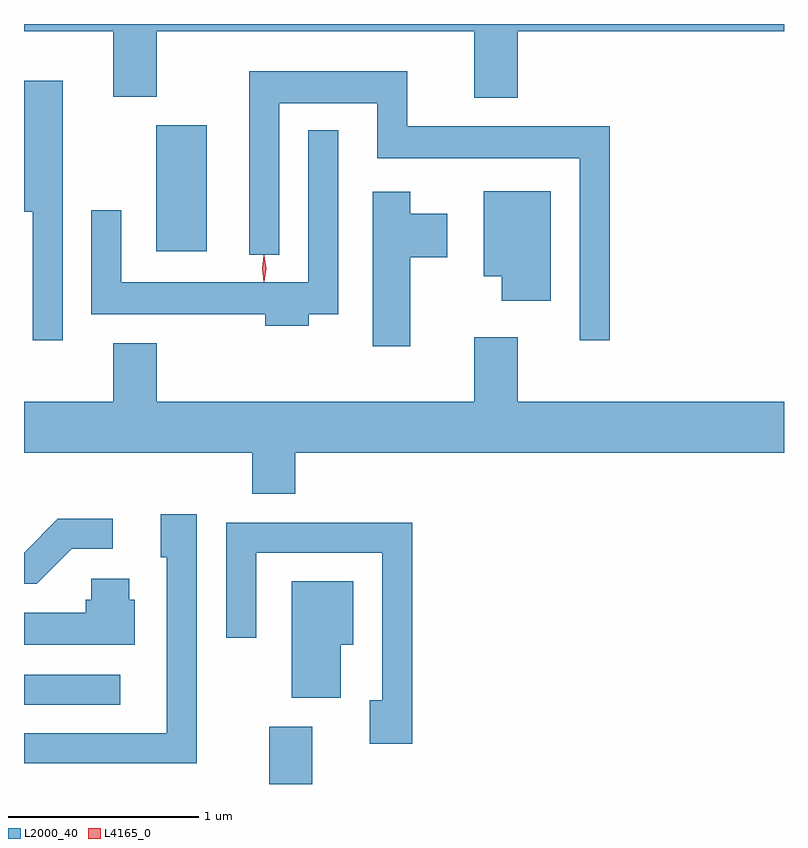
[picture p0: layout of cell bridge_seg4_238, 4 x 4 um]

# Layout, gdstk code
import gdstk
lib = gdstk.Library(unit=1e-6, precision=1e-09)
def R(c, l, rs):  # rectangles x0, y0, x1, y1
    for r in rs: c.add(gdstk.rectangle(r[:2], r[2:], *l))
def P(c, l, *ps):  # polygons
    for p in ps: c.add(gdstk.Polygon(p, *l))
L2000_40 = (2000, 40)
L4165_0 = (4165, 0)

bridge_seg4_238 = lib.new_cell('bridge_seg4_238')
R(bridge_seg4_238, L2000_40, [(607.691,1332.953,607.919,1333.254), (606.401,1333.371,606.908,1333.529), (607.096,1335.756,607.364,1336.419)])
P(bridge_seg4_238, L2000_40, [(608.999,1336.916),(610.401,1336.916),(610.401,1336.953),(606.401,1336.953),(606.401,1336.916),(606.871,1336.916),(606.871,1336.571),(607.099,1336.571),(607.099,1336.916),(608.771,1336.916),(608.771,1336.566),(608.999,1336.566)],
  [(609.484,1336.414),(608.419,1336.414),(608.419,1336.704),(607.586,1336.704),(607.586,1335.738),(607.744,1335.738),(607.744,1336.536),(608.261,1336.536),(608.261,1336.246),(609.326,1336.246),(609.326,1335.288),(609.484,1335.288)],
  [(606.604,1336.654),(606.401,1336.654),(606.401,1335.966),(606.446,1335.966),(606.446,1335.288),(606.604,1335.288)],
  [(607.899,1335.426),(608.054,1335.426),(608.054,1336.393),(607.896,1336.393),(607.896,1335.594),(606.914,1335.594),(606.914,1335.973),(606.756,1335.973),(606.756,1335.426),(607.671,1335.426),(607.671,1335.366),(607.899,1335.366)],
  [(609.174,1336.074),(608.821,1336.074),(608.821,1335.626),(608.916,1335.626),(608.916,1335.496),(609.174,1335.496)],
  [(608.434,1335.726),(608.629,1335.726),(608.629,1335.954),(608.434,1335.954),(608.434,1336.069),(608.236,1336.069),(608.236,1335.256),(608.434,1335.256)],
  [(607.829,1334.696),(610.401,1334.696),(610.401,1334.964),(608.999,1334.964),(608.999,1335.304),(608.771,1335.304),(608.771,1334.964),(607.099,1334.964),(607.099,1335.274),(606.871,1335.274),(606.871,1334.964),(606.401,1334.964),(606.401,1334.696),(607.601,1334.696),(607.601,1334.481),(607.829,1334.481)],
  [(607.309,1334.374),(607.121,1334.374),(607.121,1334.146),(607.151,1334.146),(607.151,1333.219),(606.401,1333.219),(606.401,1333.061),(607.309,1333.061)],
  [(606.652,1334.191),(606.868,1334.191),(606.868,1334.349),(606.579,1334.349),(606.401,1334.171),(606.401,1334.006),(606.467,1334.006)],
  [(608.444,1334.329),(607.466,1334.329),(607.466,1333.723),(607.624,1333.723),(607.624,1334.171),(608.286,1334.171),(608.286,1333.394),(608.221,1333.394),(608.221,1333.166),(608.444,1333.166)],
  [(606.984,1333.924),(606.954,1333.924),(606.954,1334.034),(606.756,1334.034),(606.756,1333.924),(606.726,1333.924),(606.726,1333.854),(606.401,1333.854),(606.401,1333.686),(606.984,1333.686)],
  [(608.069,1333.686),(608.134,1333.686),(608.134,1334.019),(607.811,1334.019),(607.811,1333.406),(608.069,1333.406)])
P(bridge_seg4_238, L4165_0, [(607.664,1335.597),(607.655,1335.666),(607.664,1335.736),(607.665,1335.736),(607.666,1335.736),(607.675,1335.666),(607.666,1335.597),(607.665,1335.597)],
  [(607.664,1335.599),(607.664,1335.6),(607.654,1335.666),(607.664,1335.732),(607.664,1335.733),(607.665,1335.732),(607.674,1335.666),(607.665,1335.6)])

lib.write_gds('bridge_seg4_238.gds')
